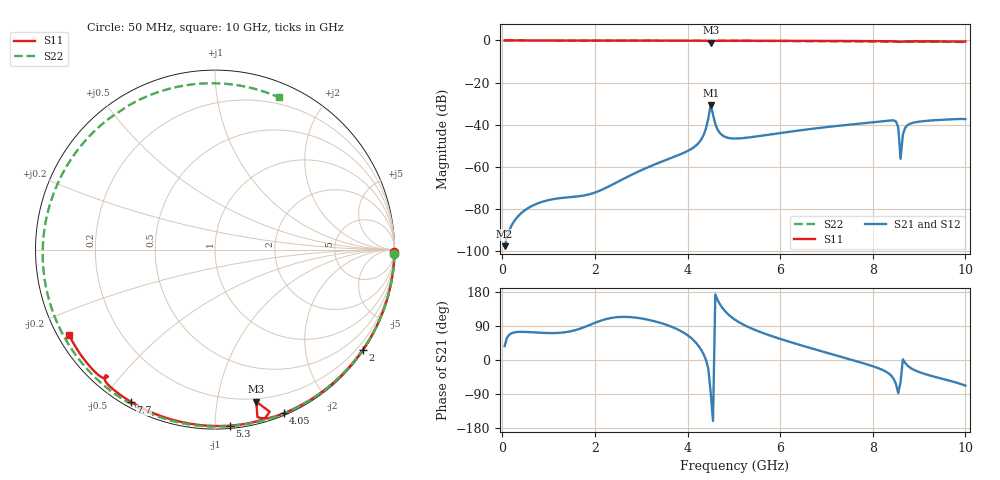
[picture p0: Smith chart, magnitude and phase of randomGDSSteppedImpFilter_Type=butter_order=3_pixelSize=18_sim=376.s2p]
! freq	dB(S11)	phase(S11)	dB(S12)	phase(S12)
!  dB(S21)	phase(S21)	dB(S22)	phase(S22)
!S-par simulation data
#  GHz  S  DB  R 50
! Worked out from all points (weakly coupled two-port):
!   200 points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, 50 MHz to 10 GHz, reference 50 ohm
!   highest |S21| = -30.56 dB at 4.5 GHz (marker M1); lowest = -97.6 dB at 50 MHz (marker M2)
!   lowest |S11| = -1.1 dB at 4.5 GHz (marker M3), VSWR 15.51, Z = 8.68 - j64.7 ohm
!   |S11| at or under -10 dB: nowhere
!   |S22| runs from -0.7 to 0.0 dB; largest |S21 - S12| = 0
!   S11 on the Smith chart (normalised r, x): 50 MHz: open; 2 GHz: 0.03, -3.26; 4.05 GHz: 0.02, -1.50; 5.3 GHz: 0.02, -1.09; 7.7 GHz: 0.02, -0.59; 10 GHz: 0.03, -0.27
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0.05  -0.00 -0.9  -97.57 36.4  -97.57 36.4  -0.00 -1.4
0.5  -0.01 -8.7  -80.33 74.1  -80.33 74.1  -0.01 -13.8
1.75  -0.04 -29.9  -73.59 85.7  -73.59 85.7  -0.06 -47.6
2  -0.04 -34.1  -72.15 98.1  -72.15 98.1  -0.07 -54.2
3.4  -0.08 -56.9  -57.83 98.5  -57.83 98.5  -0.12 -90.2
4.05  -0.10 -67.3  -51.87 60.8  -51.87 60.8  -0.15 -106.5
4.35  -0.13 -72.7  -44.73 14.4  -44.73 14.4  -0.17 -114.1
4.5  -1.12 -74.8  -30.56 -86.4  -30.56 -86.4  -0.26 -117.8
4.6  -0.20 -73.3  -39.68 173.2  -39.68 173.2  -0.19 -120.1
4.7  -0.14 -75.7  -43.94 147.0  -43.94 147.0  -0.18 -122.6
5.05  -0.13 -81.5  -46.50 104.3  -46.50 104.3  -0.20 -131.5
5.3  -0.14 -85.2  -46.06 87.7  -46.06 87.7  -0.22 -137.8
6.7  -0.21 -105.2  -41.88 29.9  -41.88 29.9  -0.34 -175.0
7.7  -0.27 -118.9  -39.49 -5.0  -39.49 -5.0  -0.45 154.9
8.35  -0.35 -128.1  -38.03 -36.0  -38.03 -36.0  -0.53 132.9
8.5  -0.49 -130.7  -38.38 -63.2  -38.38 -63.2  -0.56 127.4
8.55  -0.66 -131.0  -41.27 -87.4  -41.27 -87.4  -0.58 125.6
8.6  -0.68 -130.2  -56.16 -58.8  -56.16 -58.8  -0.59 123.9
8.65  -0.53 -130.4  -44.63 1.8  -44.63 1.8  -0.58 122.1
8.75  -0.42 -132.0  -40.18 -14.7  -40.18 -14.7  -0.58 118.3
9.4  -0.44 -141.3  -37.74 -46.4  -37.74 -46.4  -0.65 92.6
10  -0.52 -149.5  -37.30 -67.6  -37.30 -67.6  -0.73 67.3
